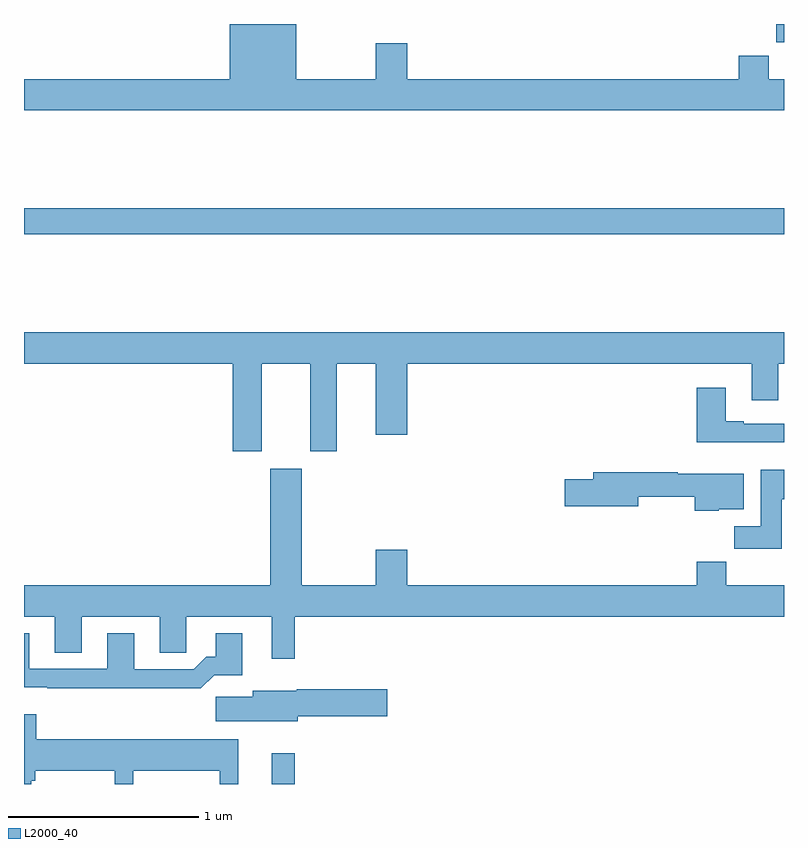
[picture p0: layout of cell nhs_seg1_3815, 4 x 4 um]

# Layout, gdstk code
import gdstk
lib = gdstk.Library(unit=1e-6, precision=1e-09)
def R(c, l, rs):  # rectangles x0, y0, x1, y1
    for r in rs: c.add(gdstk.rectangle(r[:2], r[2:], *l))
def P(c, l, *ps):  # polygons
    for p in ps: c.add(gdstk.Polygon(p, *l))
L2000_40 = (2000, 40)

nhs_seg1_3815 = lib.new_cell('nhs_seg1_3815')
R(nhs_seg1_3815, L2000_40, [(320.303,536.199,320.425,536.362), (319,539.092,323,539.228), (322.96,540.102,323,540.199)])
P(nhs_seg1_3815, L2000_40, [(323,539.908),(322.919,539.908),(322.919,540.032),(322.763,540.032),(322.763,539.908),(321.016,539.908),(321.016,540.097),(320.852,540.097),(320.852,539.908),(320.434,539.908),(320.434,540.199),(320.084,540.199),(320.084,539.908),(319,539.908),(319,539.744),(323,539.744)],
  [(320.251,538.412),(320.507,538.412),(320.507,537.951),(320.647,537.951),(320.647,538.412),(320.852,538.412),(320.852,538.038),(321.016,538.038),(321.016,538.412),(322.829,538.412),(322.829,538.218),(322.969,538.218),(322.969,538.412),(323,538.412),(323,538.576),(319,538.576),(319,538.412),(320.099,538.412),(320.099,537.951),(320.251,537.951)],
  [(323,538.095),(322.789,538.095),(322.789,538.108),(322.693,538.108),(322.693,538.285),(322.541,538.285),(322.541,537.998),(323,537.998)],
  [(320.425,537.08),(323,537.08),(323,537.244),(322.697,537.244),(322.697,537.368),(322.541,537.368),(322.541,537.244),(321.016,537.244),(321.016,537.433),(320.852,537.433),(320.852,537.244),(320.461,537.244),(320.461,537.859),(320.297,537.859),(320.297,537.244),(319,537.244),(319,537.08),(319.163,537.08),(319.163,536.89),(319.303,536.89),(319.303,537.08),(319.715,537.08),(319.715,536.89),(319.854,536.89),(319.854,537.08),(320.303,537.08),(320.303,536.859),(320.425,536.859)],
  [(322.987,537.697),(323,537.697),(323,537.853),(322.877,537.853),(322.877,537.556),(322.738,537.556),(322.738,537.438),(322.987,537.438)],
  [(322.656,537.644),(322.789,537.644),(322.789,537.832),(322.442,537.832),(322.442,537.839),(321.995,537.839),(321.995,537.803),(321.846,537.803),(321.846,537.661),(322.234,537.661),(322.234,537.711),(322.531,537.711),(322.531,537.638),(322.656,537.638)],
  [(320,536.771),(320.149,536.771),(320.149,536.992),(320.009,536.992),(320.009,536.869),(319.96,536.869),(319.893,536.802),(319.579,536.802),(319.579,536.992),(319.439,536.992),(319.439,536.805),(319.027,536.805),(319.027,536.992),(319,536.992),(319,536.708),(319.123,536.708),(319.123,536.704),(319.675,536.704),(319.675,536.702),(319.931,536.702)],
  [(320.44,536.555),(320.911,536.555),(320.911,536.697),(320.436,536.697),(320.436,536.689),(320.204,536.689),(320.204,536.657),(320.01,536.657),(320.01,536.528),(320.44,536.528)],
  [(319.039,536.217),(319.059,536.217),(319.059,536.27),(319.478,536.27),(319.478,536.199),(319.576,536.199),(319.576,536.27),(320.03,536.27),(320.03,536.199),(320.128,536.199),(320.128,536.434),(319.064,536.434),(319.064,536.566),(319,536.566),(319,536.199),(319.039,536.199)])

lib.write_gds('nhs_seg1_3815.gds')
